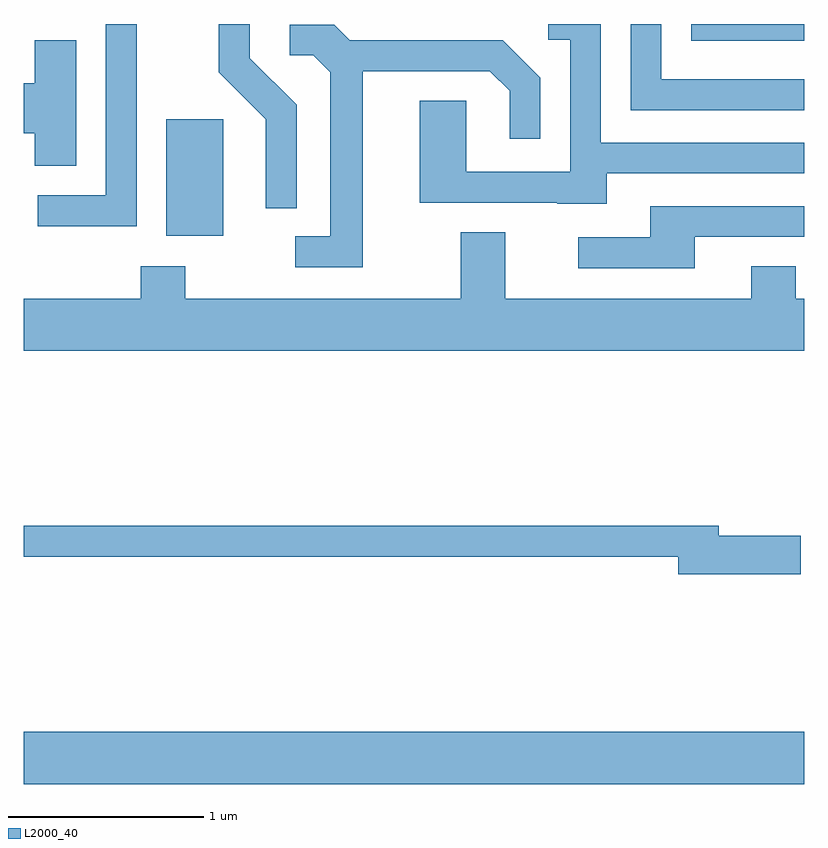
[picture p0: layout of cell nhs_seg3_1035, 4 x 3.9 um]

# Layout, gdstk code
import gdstk
lib = gdstk.Library(unit=1e-6, precision=1e-09)
def R(c, l, rs):  # rectangles x0, y0, x1, y1
    for r in rs: c.add(gdstk.rectangle(r[:2], r[2:], *l))
def P(c, l, *ps):  # polygons
    for p in ps: c.add(gdstk.Polygon(p, *l))
L2000_40 = (2000, 40)

nhs_seg3_1035 = lib.new_cell('nhs_seg3_1035')
R(nhs_seg3_1035, L2000_40, [(215.611,1145.996,219.611,1146.264), (216.341,1148.806,216.634,1149.404), (219.031,1149.806,219.611,1149.892)])
P(nhs_seg3_1035, L2000_40, [(216.189,1149.892),(216.031,1149.892),(216.031,1149.014),(215.683,1149.014),(215.683,1148.856),(216.189,1148.856)],
  [(217.009,1149.477),(216.769,1149.717),(216.769,1149.892),(216.611,1149.892),(216.611,1149.644),(216.851,1149.404),(216.851,1148.948),(217.009,1148.948)],
  [(219.611,1149.609),(218.879,1149.609),(218.879,1149.892),(218.721,1149.892),(218.721,1149.451),(219.611,1149.451)],
  [(218.599,1149.126),(219.611,1149.126),(219.611,1149.284),(218.569,1149.284),(218.569,1149.892),(218.298,1149.892),(218.298,1149.811),(218.411,1149.811),(218.411,1149.134),(217.879,1149.134),(217.879,1149.499),(217.641,1149.499),(217.641,1148.976),(218.345,1148.976),(218.345,1148.971),(218.599,1148.971)],
  [(217.349,1149.651),(217.999,1149.651),(218.101,1149.549),(218.101,1149.303),(218.259,1149.303),(218.259,1149.617),(218.067,1149.809),(217.282,1149.809),(217.202,1149.889),(216.973,1149.889),(216.973,1149.731),(217.094,1149.731),(217.181,1149.644),(217.181,1148.804),(217.003,1148.804),(217.003,1148.646),(217.349,1148.646)],
  [(215.879,1149.809),(215.666,1149.809),(215.666,1149.589),(215.611,1149.589),(215.611,1149.331),(215.666,1149.331),(215.666,1149.166),(215.879,1149.166)],
  [(219.049,1148.801),(219.611,1148.801),(219.611,1148.959),(218.821,1148.959),(218.821,1148.799),(218.453,1148.799),(218.453,1148.641),(219.049,1148.641)],
  [(219.611,1148.484),(219.569,1148.484),(219.569,1148.649),(219.341,1148.649),(219.341,1148.484),(218.079,1148.484),(218.079,1148.824),(217.851,1148.824),(217.851,1148.484),(216.439,1148.484),(216.439,1148.649),(216.211,1148.649),(216.211,1148.484),(215.611,1148.484),(215.611,1148.216),(219.611,1148.216)],
  [(219.594,1147.269),(219.174,1147.269),(219.174,1147.319),(215.611,1147.319),(215.611,1147.161),(218.966,1147.161),(218.966,1147.071),(219.594,1147.071)])

lib.write_gds('nhs_seg3_1035.gds')
